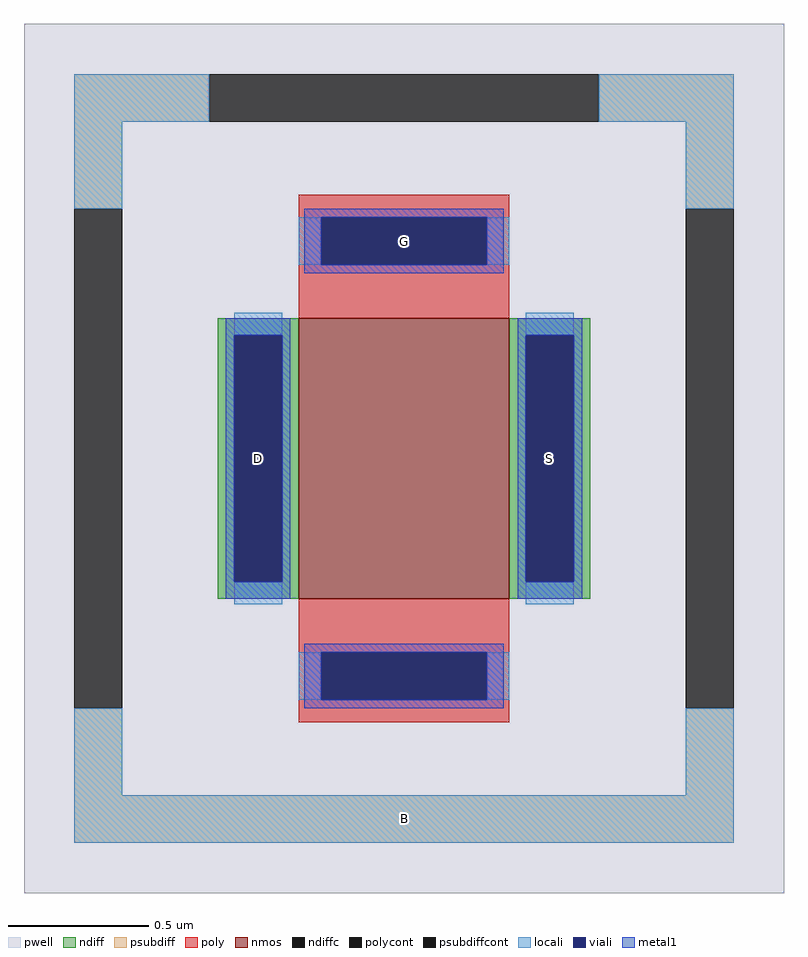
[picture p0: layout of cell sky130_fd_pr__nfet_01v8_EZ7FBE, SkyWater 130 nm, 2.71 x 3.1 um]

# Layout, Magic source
magic
tech sky130A
magscale 1 2
<< pwell >>
rect -271 -310 271 310
<< nmos >>
rect -75 -100 75 100
<< ndiff >>
rect -133 88 -75 100
rect -133 -88 -121 88
rect -87 -88 -75 88
rect -133 -100 -75 -88
rect 75 88 133 100
rect 75 -88 87 88
rect 121 -88 133 88
rect 75 -100 133 -88
<< ndiffc >>
rect -121 -88 -87 88
rect 87 -88 121 88
<< psubdiff >>
rect -235 240 -139 274
rect 139 240 235 274
rect -235 178 -201 240
rect 201 178 235 240
rect -235 -240 -201 -178
rect 201 -240 235 -178
rect -235 -274 235 -240
<< psubdiffcont >>
rect -139 240 139 274
rect -235 -178 -201 178
rect 201 -178 235 178
<< poly >>
rect -75 172 75 188
rect -75 138 -59 172
rect 59 138 75 172
rect -75 100 75 138
rect -75 -138 75 -100
rect -75 -172 -59 -138
rect 59 -172 75 -138
rect -75 -188 75 -172
<< polycont >>
rect -59 138 59 172
rect -59 -172 59 -138
<< locali >>
rect -235 240 -139 274
rect 139 240 235 274
rect -235 178 -201 240
rect 201 178 235 240
rect -75 138 -59 172
rect 59 138 75 172
rect -121 88 -87 104
rect -121 -104 -87 -88
rect 87 88 121 104
rect 87 -104 121 -88
rect -75 -172 -59 -138
rect 59 -172 75 -138
rect -235 -240 -201 -178
rect 201 -240 235 -178
rect -235 -274 235 -240
<< viali >>
rect -59 138 59 172
rect -121 -88 -87 88
rect 87 -88 121 88
rect -59 -172 59 -138
<< metal1 >>
rect -71 172 71 178
rect -71 138 -59 172
rect 59 138 71 172
rect -71 132 71 138
rect -127 88 -81 100
rect -127 -88 -121 88
rect -87 -88 -81 88
rect -127 -100 -81 -88
rect 81 88 127 100
rect 81 -88 87 88
rect 121 -88 127 88
rect 81 -100 127 -88
rect -71 -138 71 -132
rect -71 -172 -59 -138
rect 59 -172 71 -138
rect -71 -178 71 -172
<< labels >>
rlabel psubdiff 0 -257 0 -257 0 B
port 1 nsew
rlabel ndiffc -104 0 -104 0 0 D
port 2 nsew
rlabel ndiffc 104 0 104 0 0 S
port 3 nsew
rlabel polycont 0 155 0 155 0 G
port 4 nsew
<< properties >>
string FIXED_BBOX -218 -257 218 257
string gencell sky130_fd_pr__nfet_01v8
string library sky130
string parameters w 1.0 l 0.75 m 1 nf 1 diffcov 100 polycov 100 guard 1 glc 1 grc 1 gtc 1 gbc 0 tbcov 100 rlcov 100 topc 1 botc 1 poverlap 0 doverlap 1 lmin 0.15 wmin 0.42 class mosfet compatible {sky130_fd_pr__nfet_01v8 sky130_fd_pr__nfet_01v8_lvt  sky130_fd_bs_flash__special_sonosfet_star  sky130_fd_pr__nfet_g5v0d10v5 sky130_fd_pr__nfet_05v0_nvt  sky130_fd_pr__nfet_03v3_nvt} full_metal 1 viasrc 100 viadrn 100 viagate 100 viagb 0 viagr 0 viagl 0 viagt 0 doports 1
<< end >>
